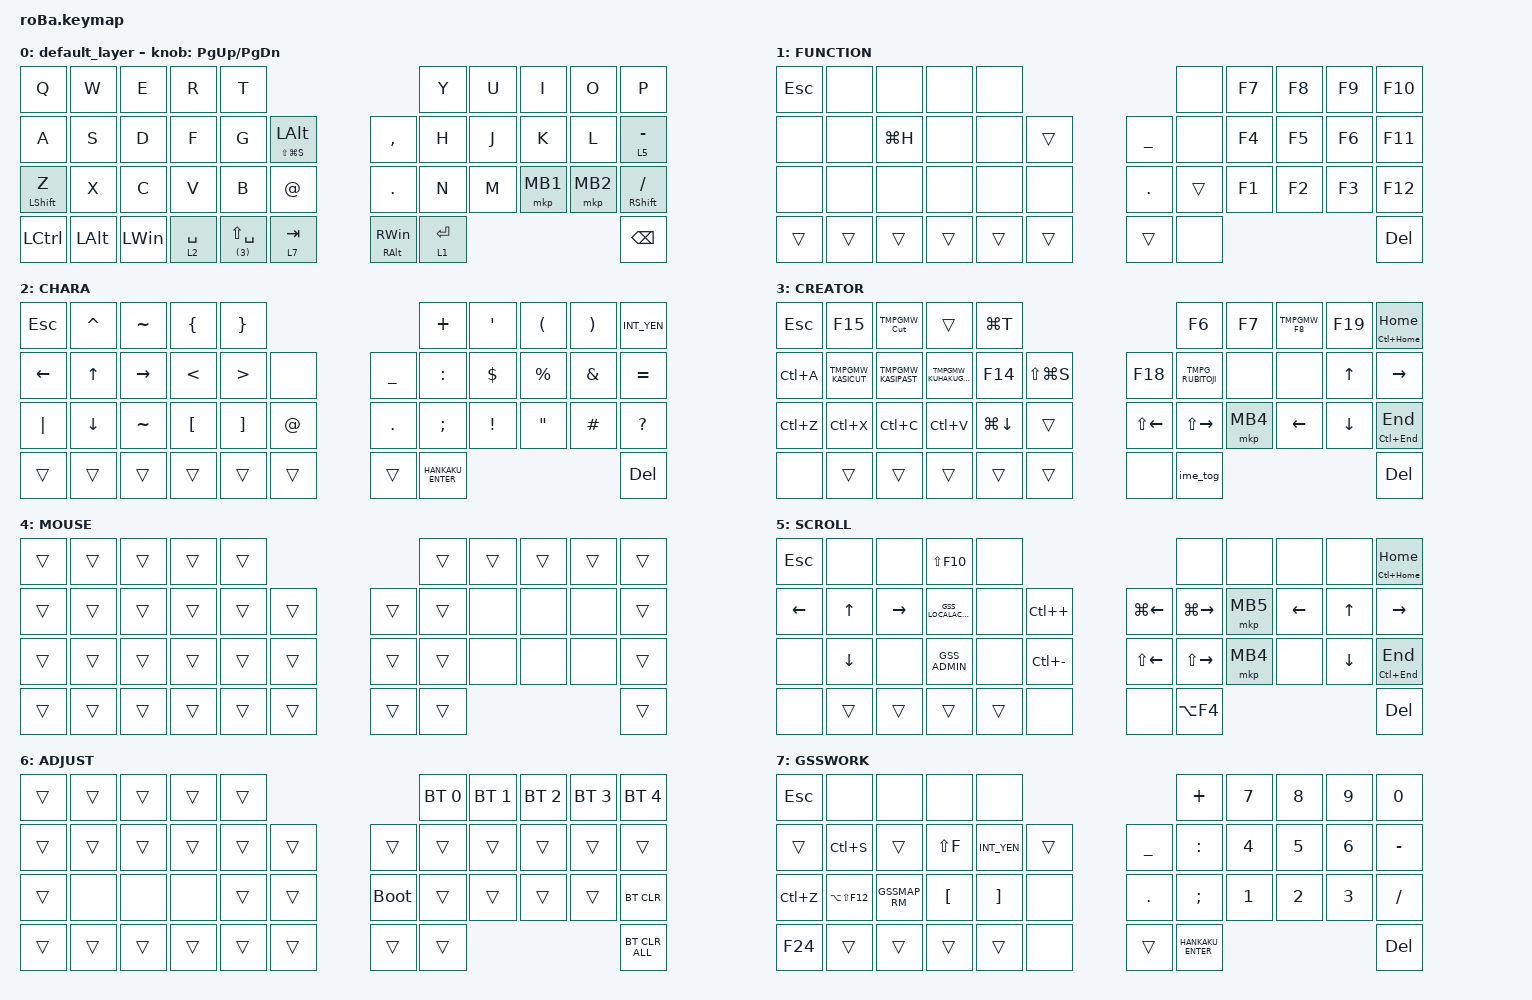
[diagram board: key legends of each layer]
#include <behaviors.dtsi>
#include <dt-bindings/zmk/bt.h>
#include <dt-bindings/zmk/keys.h>
#include <dt-bindings/zmk/pointing.h>

&mt {
    flavor = "balanced";
    quick-tap-ms = <0>;
};

&trackball {
    automouse-layer = <4>;
    scroll-layers = <5>;

    // arrows {
    //     layers = <3>;
    //     bindings =
    //         <&kp RIGHT_ARROW>,
    //         <&kp LEFT_ARROW>,
    //         <&kp UP_ARROW>,
    //         <&kp DOWN_ARROW>;
    //     tick = <10>;
    //     wait-ms = <5>;
    //     tap-ms = <5>;
    // };
};

/ {
    combos {
        compatible = "zmk,combos";

        BT_0 {
            bindings = <&bt BT_SEL 0>;
            key-positions = <5 7>;
        };

        BT_1 {
            bindings = <&bt BT_SEL 1>;
            key-positions = <17 19>;
        };

        BT_2 {
            bindings = <&bt BT_SEL 2>;
            key-positions = <6 8>;
        };

        BT_3 {
            bindings = <&bt BT_SEL 3>;
            key-positions = <18 20>;
        };

        TMPGMW_RUBI {
            bindings = <&kp F13>;
            key-positions = <19 20>;
        };

        BT_ACLR {
            bindings = <&bt BT_CLR_ALL>;
            key-positions = <40 42>;
        };

        BT_1_CLR {
            bindings = <&bt BT_CLR>;
            key-positions = <5 9>;
        };

        Move_left {
            bindings = <&kp F20>;
            key-positions = <10 11>;
        };

        Move_Right {
            bindings = <&kp F21>;
            key-positions = <20 21>;
        };

        TMPGMW_FontSmall {
            bindings = <&kp F16>;
            key-positions = <17 18>;
        };

        pw {
            bindings = <&PW>;
            key-positions = <34 22>;
        };

        SCROLL-Layer {
            bindings = <&lt 5 RIGHT_SHIFT>;
            key-positions = <31 32>;
        };

        PIN {
            bindings = <&PIN>;
            key-positions = <42 33>;
        };
    };

    macros {
        to_layer_0: to_layer_0 {
            compatible = "zmk,behavior-macro-one-param";
            #binding-cells = <1>;
            bindings = <&to 0 &macro_param_1to1 &kp MACRO_PLACEHOLDER>;
            label = "TO_LAYER_0";
        };

        HANKAKU_ENTER: HANKAKU_ENTER {
            compatible = "zmk,behavior-macro";
            #binding-cells = <0>;
            bindings = <&kp F10 &kp ENTER>;
            label = "HANKAKU_ENTER";
        };

        PW: PW {
            compatible = "zmk,behavior-macro";
            #binding-cells = <0>;
            bindings = <&kp N7 &kp N7 &kp LBKT &kp G &kp S &kp S &kp LS(G) &kp LS(S) &kp LS(S) &kp N2 &kp N0 &kp N1 &kp N9>;
            label = "PW";
        };

        TMPGMW_Cut: TMPGMW_Cut {
            compatible = "zmk,behavior-macro";
            #binding-cells = <0>;
            bindings = <&mkp MB2 &kp L>;
            label = "TMPGMW_CUT";
        };

        TMPGMW_KUHAKUGYO: TMPGMW_KUHAKUGYO {
            compatible = "zmk,behavior-macro";
            #binding-cells = <0>;
            bindings = <&kp LANG2 &kp LEFT_BRACKET &kp SPACE &kp SEMI &kp SPACE &kp SPACE &kp SPACE &kp RIGHT_BRACKET &kp LANG1>;
            label = "TMPGMW_KUHAKUGYO";
        };

        TMPGMW_KASICUT: TMPGMW_KASICUT {
            compatible = "zmk,behavior-macro";
            #binding-cells = <0>;
            bindings = <&kp LC(LS(END)) &kp LC(X) &kp UP_ARROW>;
            label = "TMPGMW_KASICUT";
        };

        TMPGMW_MAEzoroe: TMPGMW_MAEzoroe {
            compatible = "zmk,behavior-macro";
            #binding-cells = <0>;
            bindings = <&mkp MB2 &kp M &kp TAB &kp N0 &kp ENTER>;
            label = "TMPGMW_MAEZOROE";
        };

        TMPGMW_KASIPAST: TMPGMW_KASIPAST {
            compatible = "zmk,behavior-macro";
            #binding-cells = <0>;
            bindings = <&mkp MB1 &mkp MB1 &kp LS(TAB) &kp LS(TAB) &kp LS(TAB) &kp LS(TAB) &kp LS(TAB) &kp LS(TAB) &kp LS(TAB) &kp LC(V) &kp LC(HOME)>;
            label = "TMPGMW_KASIPAST";
        };

        GSS_LOCALACCOUNT: GSS_LOCALACCOUNT {
            compatible = "zmk,behavior-macro";
            #binding-cells = <0>;
            bindings = <&kp O &kp O &kp B &kp E &kp INT_YEN &kp B &kp Y &kp P &kp A &kp S &kp S &kp N &kp R &kp O &kp PERIOD &kp C &kp M &kp D &kp ENTER>;
            label = "GSS_LOCALACCOUNT";
        };

        GSS_ADMIN: GSS_ADMIN {
            compatible = "zmk,behavior-macro";
            #binding-cells = <0>;
            bindings =
                <&kp A &kp D &kp M &kp I &kp N &kp ENTER>,
                <&macro_wait_time 1000>,
                <&kp ENTER>,
                <&macro_wait_time 12000>,
                <&kp ENTER>,
                <&macro_wait_time 500>,
                <&kp ENTER>,
                <&macro_wait_time 500>,
                <&kp ENTER>,
                <&macro_wait_time 500>,
                <&kp ENTER>,
                <&macro_wait_time 500>,
                <&kp ENTER>,
                <&macro_wait_time 600>,
                <&kp ENTER>;

            label = "GSS_ADMIN";
        };

        GSS_WIFI: GSS_WIFI {
            compatible = "zmk,behavior-macro";
            #binding-cells = <0>;
            bindings = <&kp G &kp S &kp S &kp M &kp B &kp S &kp I &kp Q &kp G &kp ENTER>;
            label = "GSS_WIFI";
        };

        GSSMAP_RM: GSSMAP_RM {
            compatible = "zmk,behavior-macro";
            #binding-cells = <0>;
            bindings = <&kp LS(R) &kp LS(M)>;
            label = "GSSMAP_RM";
        };

        TMPGMW_F8: TMPGMW_F8 {
            compatible = "zmk,behavior-macro";
            #binding-cells = <0>;
            bindings = <&kp F8 &kp TAB &kp TAB &kp END>;
            label = "TMPGMW_F8";
        };
    };

    behaviors {
        lt_to_layer_0: lt_to_layer_0 {
            compatible = "zmk,behavior-hold-tap";
            label = "LAYER_TAP_TO_0";
            bindings = <&mo>, <&to_layer_0>;

            #binding-cells = <2>;
            tapping-term-ms = <200>;
        };

        ime_behavior: ime_behavior {
            compatible = "zmk,behavior-hold-tap";
            label = "IME_BEHAVIOR";
            bindings = <&kp>, <&ime_tog>;

            #binding-cells = <2>;
            tapping-term-ms = <200>;
        };

        // Windows用：Alt + Grave (~)

        ime_tog: ime_toggle {
            compatible = "zmk,behavior-macro";
            #binding-cells = <0>;
            bindings =
                <&macro_press>,
                <&kp LALT>,
                <&macro_tap>,
                <&kp GRAVE>,
                <&macro_release>,
                <&kp LALT>;
        };

        TMPGMW_TL_Return: TMPGMW_TL_Return {
            compatible = "zmk,behavior-macro";
            #binding-cells = <0>;
            bindings = <&kp TAB &kp TAB &kp TAB &kp TAB &kp TAB &kp TAB &kp TAB>;
            label = "TMPGMW_TL_RETURN";
        };

        TMPGMW_KASI_Return: TMPGMW_KASI_Return {
            compatible = "zmk,behavior-macro";
            #binding-cells = <0>;
            bindings = <&kp LS(TAB) &kp LS(TAB) &kp LS(TAB) &kp LS(TAB) &kp LS(TAB) &kp LS(TAB) &kp LS(TAB)>;
            label = "TMPGMW_KASI_RETURN";
        };

        GSS_RDP: GSS_RDP {
            compatible = "zmk,behavior-macro";
            #binding-cells = <0>;
            bindings =
                <&kp TAB &kp TAB &kp TAB &kp TAB &kp ENTER>,
                <&macro_wait_time 300>,
                <&kp TAB &kp TAB &kp TAB &kp ENTER &kp ENTER>,
                <&macro_wait_time 500>,
                <&kp LANGUAGE_2 &kp NUMBER_2 &kp NUMBER_2 &kp N0 &kp N8 &kp N7 &kp N7 &kp LEFT_BRACKET &kp G &kp S &kp S &kp C &kp O &kp R &kp P &kp PERIOD &kp G &kp S &kp S &kp L &kp T &kp D &kp PERIOD &kp C &kp O &kp PERIOD &kp J &kp P>,
                <&macro_wait_time 500>,
                <&kp TAB>,
                <&macro_wait_time 300>,
                <&kp N7 &kp N7 &kp LEFT_BRACKET &kp G &kp S &kp S &kp LS(G) &kp LS(S) &kp LS(S) &kp NUMBER_2 &kp N0 &kp NUMBER_1 &kp N9>,
                <&macro_wait_time 200>,
                <&kp ENTER>;

            label = "GSS_RDP";
        };

        TMPG_RUBITOJI: TMPG_RUBITOJI {
            compatible = "zmk,behavior-macro";
            #binding-cells = <0>;
            bindings = <&kp BACKSPACE &kp RIGHT_BRACKET &kp F10 &kp ENTER>;
            label = "TMPG_RUBITOJI";
        };

        KIT: KIT {
            compatible = "zmk,behavior-macro";
            #binding-cells = <0>;
            bindings =
                <&kp NUMBER_1 &kp N0 &kp PERIOD &kp ASTRK &kp COMMA &kp L &kp O &kp C &kp A &kp L &kp H &kp O &kp S &kp T &kp COMMA &kp ASTRK &kp PERIOD &kp I &kp N &kp T &kp R &kp A &kp PERIOD &kp T &kp K &kp G &kp MINUS &kp J &kp P &kp PERIOD &kp O &kp R &kp G>,
                <&macro_wait_time 100000>;

            label = "KIT";
        };

        PIN: PIN {
            compatible = "zmk,behavior-macro";
            #binding-cells = <0>;
            bindings = <&kp N0 &kp N8 &kp N0 &kp N9 &kp NUMBER_2 &kp N7 &kp ENTER>;
            label = "PIN";
        };
    };

    keymap {
        compatible = "zmk,keymap";

        default_layer {
            bindings = <
&kp Q             &kp W         &kp E         &kp R        &kp T                                                                   &kp Y        &kp U  &kp I     &kp O     &kp P
&kp A             &kp S         &kp D         &kp F        &kp G              &mt LS(LG(S)) LEFT_ALT      &kp COMMA                &kp H        &kp J  &kp K     &kp L     &lt 5 MINUS
&mt LEFT_SHIFT Z  &kp X         &kp C         &kp V        &kp B              &kp AT_SIGN                 &kp PERIOD               &kp N        &kp M  &mkp MB1  &mkp MB2  &mt RIGHT_SHIFT SLASH
&kp LCTRL         &kp LEFT_ALT  &kp LEFT_WIN  &lt 2 SPACE  &lt (3) LS(SPACE)  &lt 7 TAB                   &mt RIGHT_ALT RIGHT_WIN  &lt 1 ENTER                             &kp BACKSPACE
            >;

            sensor-bindings = <&inc_dec_kp PG_UP PAGE_DOWN>;
        };

        FUNCTION {
            bindings = <
&kp ESCAPE  &none   &none      &none   &none                               &none   &kp F7  &kp F8  &kp F9  &kp F10
&none       &none   &kp LG(H)  &none   &none   &trans      &kp UNDERSCORE  &none   &kp F4  &kp F5  &kp F6  &kp F11
&none       &none   &none      &none   &none   &none       &kp PERIOD      &trans  &kp F1  &kp F2  &kp F3  &kp F12
&trans      &trans  &trans     &trans  &trans  &trans      &trans          &none                           &kp DELETE
            >;
        };

        CHARA {
            bindings = <
&kp ESCAPE  &kp CARET       &kp TILDE  &kp LEFT_BRACE    &kp RIGHT_BRACE                                &kp PLUS        &kp SINGLE_QUOTE  &kp LEFT_PARENTHESIS  &kp RIGHT_PARENTHESIS  &kp INT_YEN
&kp LEFT    &kp UP_ARROW    &kp RIGHT  &kp LESS_THAN     &kp GREATER_THAN   &none       &kp UNDERSCORE  &kp COLON       &kp DOLLAR        &kp PERCENT           &kp AMPERSAND          &kp EQUAL
&kp PIPE    &kp DOWN_ARROW  &kp TILDE  &kp LEFT_BRACKET  &kp RIGHT_BRACKET  &kp AT      &kp PERIOD      &kp SEMI        &kp EXCLAMATION   &kp DOUBLE_QUOTES     &kp HASH               &kp QUESTION
&trans      &trans          &trans     &trans            &trans             &trans      &trans          &HANKAKU_ENTER                                                                 &kp DEL
            >;
        };

        CREATOR {
            bindings = <
&kp ESCAPE  &kp F15          &TMPGMW_Cut       &trans             &kp LG(T)                                            &kp F6          &kp F7    &TMPGMW_F8      &kp F19       &mt LC(HOME) HOME
&kp LC(A)   &TMPGMW_KASICUT  &TMPGMW_KASIPAST  &TMPGMW_KUHAKUGYO  &kp F14             &kp LS(LG(S))      &kp F18       &TMPG_RUBITOJI  &none     &none           &kp UP_ARROW  &kp RIGHT
&kp LC(Z)   &kp LC(X)        &kp LC(C)         &kp LC(V)          &kp LG(DOWN_ARROW)  &trans             &kp LS(LEFT)  &kp LS(RIGHT)   &mkp MB4  &kp LEFT_ARROW  &kp DOWN      &mt LC(END) END
&none       &trans           &trans            &trans             &trans              &trans             &none         &ime_tog                                                &kp DELETE
            >;
        };

        MOUSE {
            bindings = <
&trans  &trans  &trans  &trans  &trans                      &trans  &trans  &trans  &trans  &trans
&trans  &trans  &trans  &trans  &trans  &trans      &trans  &trans  &none   &none   &none   &trans
&trans  &trans  &trans  &trans  &trans  &trans      &trans  &trans  &none   &none   &none   &trans
&trans  &trans  &trans  &trans  &trans  &trans      &trans  &trans                          &trans
            >;
        };

        SCROLL {
            bindings = <
&kp ESCAPE  &none           &none      &kp LS(F10)        &none                                    &none          &none     &none     &none         &mt LC(HOME) HOME
&kp LEFT    &kp UP_ARROW    &kp RIGHT  &GSS_LOCALACCOUNT  &none   &kp LC(PLUS)       &kp LG(LEFT)  &kp LG(RIGHT)  &mkp MB5  &kp LEFT  &kp UP_ARROW  &kp RIGHT
&none       &kp DOWN_ARROW  &none      &GSS_ADMIN         &none   &kp LC(MINUS)      &kp LS(LEFT)  &kp LS(RIGHT)  &mkp MB4  &none     &kp DOWN      &mt LC(END) END
&none       &trans          &trans     &trans             &trans  &none              &none         &kp LA(F4)                                       &kp DELETE
            >;
        };

        ADJUST {
            bindings = <
&trans  &trans  &trans  &trans  &trans                           &bt BT_SEL 0  &bt BT_SEL 1  &bt BT_SEL 2  &bt BT_SEL 3  &bt BT_SEL 4
&trans  &trans  &trans  &trans  &trans  &trans      &trans       &trans        &trans        &trans        &trans        &trans
&trans  &none   &none   &none   &trans  &trans      &bootloader  &trans        &trans        &trans        &trans        &bt BT_CLR
&trans  &trans  &trans  &trans  &trans  &trans      &trans       &trans                                                  &bt BT_CLR_ALL
            >;
        };

        GSSWORK {
            bindings = <
&kp ESCAPE  &none            &none       &none             &none                                      &kp PLUS        &kp N7        &kp N8        &kp N9        &kp N0
&trans      &kp LC(S)        &trans      &kp LS(F)         &kp INT_YEN        &trans      &kp UNDER   &kp COLON       &kp NUMBER_4  &kp N5        &kp NUMBER_6  &kp MINUS
&kp LC(Z)   &kp LA(LS(F12))  &GSSMAP_RM  &kp LEFT_BRACKET  &kp RIGHT_BRACKET  &none       &kp PERIOD  &kp SEMI        &kp NUMBER_1  &kp NUMBER_2  &kp NUMBER_3  &kp SLASH
&kp F24     &trans           &trans      &trans            &trans             &none       &trans      &HANKAKU_ENTER                                            &kp DEL
            >;
        };
    };
};
